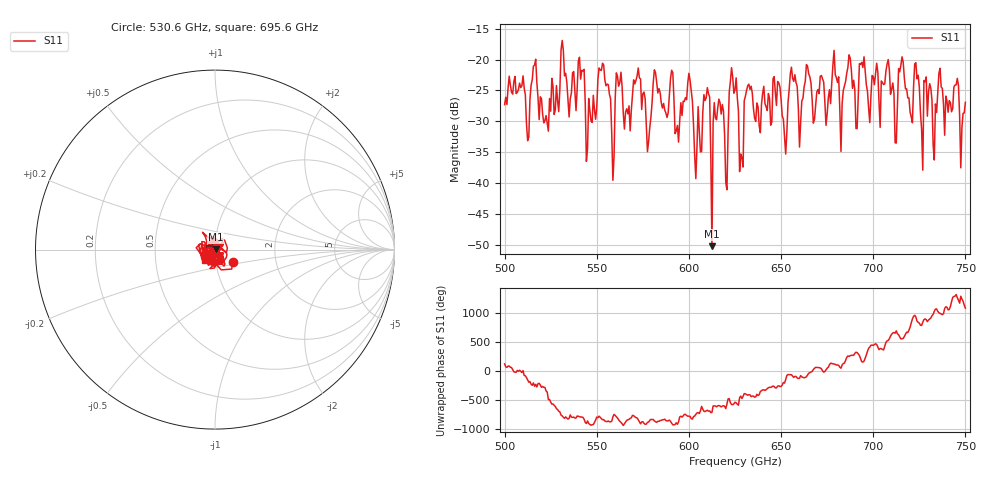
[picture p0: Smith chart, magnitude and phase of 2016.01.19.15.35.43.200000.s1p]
!Created with skrf (http://scikit-rf.org).
# GHz S RI R 50.0
!freq ReS11 ImS11
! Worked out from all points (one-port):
!   401 points, 500 GHz to 750 GHz, reference 50 ohm
!   lowest |S11| = -50.2 dB at 612.5 GHz (marker M1), VSWR 1.01, Z = 50.3 + j0.0653 ohm
!   |S11| at or under -10 dB: start of sweep to end of sweep
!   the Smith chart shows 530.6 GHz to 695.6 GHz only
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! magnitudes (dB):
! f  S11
! 500 GHz  -27.3
! 512.5 GHz  -33.1
! 516.2 GHz  -20.9
! 522.5 GHz  -29.1
! 531.2 GHz  -16.9
! 541.9 GHz  -21.7
! 545.6 GHz  -26.3
! 552.5 GHz  -21.8
! 558.8 GHz  -39.6
! 562.5 GHz  -23.7
! 578.1 GHz  -33.3
! 590.6 GHz  -21.7
! 593.8 GHz  -30.7
! 600.6 GHz  -23.4
! 603.1 GHz  -35.6
! 609.4 GHz  -26.2
! 612.5 GHz  -50.2
! 616.9 GHz  -27.0
! 620 GHz  -39.9
! 625 GHz  -24.9
! 628.1 GHz  -35.3
! 632.5 GHz  -24.0
! 651.9 GHz  -32.4
! 656.2 GHz  -23.1
! 660.6 GHz  -30.1
! 687.5 GHz  -19.8
! 718.8 GHz  -26.2
! 750 GHz  -26.9
